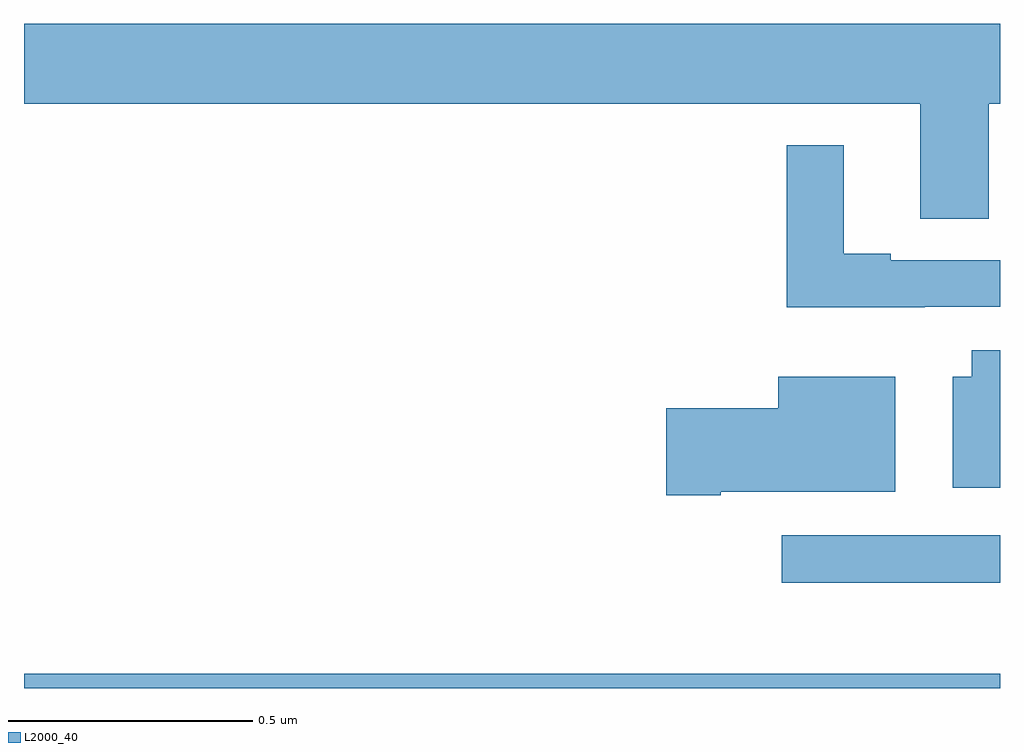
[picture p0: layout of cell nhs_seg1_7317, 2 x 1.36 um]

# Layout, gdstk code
import gdstk
lib = gdstk.Library(unit=1e-6, precision=1e-09)
def R(c, l, rs):  # rectangles x0, y0, x1, y1
    for r in rs: c.add(gdstk.rectangle(r[:2], r[2:], *l))
def P(c, l, *ps):  # polygons
    for p in ps: c.add(gdstk.Polygon(p, *l))
L2000_40 = (2000, 40)

nhs_seg1_7317 = lib.new_cell('nhs_seg1_7317')
R(nhs_seg1_7317, L2000_40, [(202,553.199,204,553.228), (203.553,553.415,204,553.512)])
P(nhs_seg1_7317, L2000_40, [(203.977,554.396),(204,554.396),(204,554.56),(202,554.56),(202,554.396),(203.837,554.396),(203.837,554.161),(203.977,554.161)],
  [(203.846,553.98),(204,553.98),(204,554.076),(203.776,554.076),(203.776,554.089),(203.68,554.089),(203.68,554.311),(203.563,554.311),(203.563,553.979),(203.846,553.979)],
  [(204,553.891),(203.942,553.891),(203.942,553.837),(203.903,553.837),(203.903,553.61),(204,553.61)],
  [(203.428,553.601),(203.785,553.601),(203.785,553.837),(203.546,553.837),(203.546,553.772),(203.316,553.772),(203.316,553.594),(203.428,553.594)])

lib.write_gds('nhs_seg1_7317.gds')
